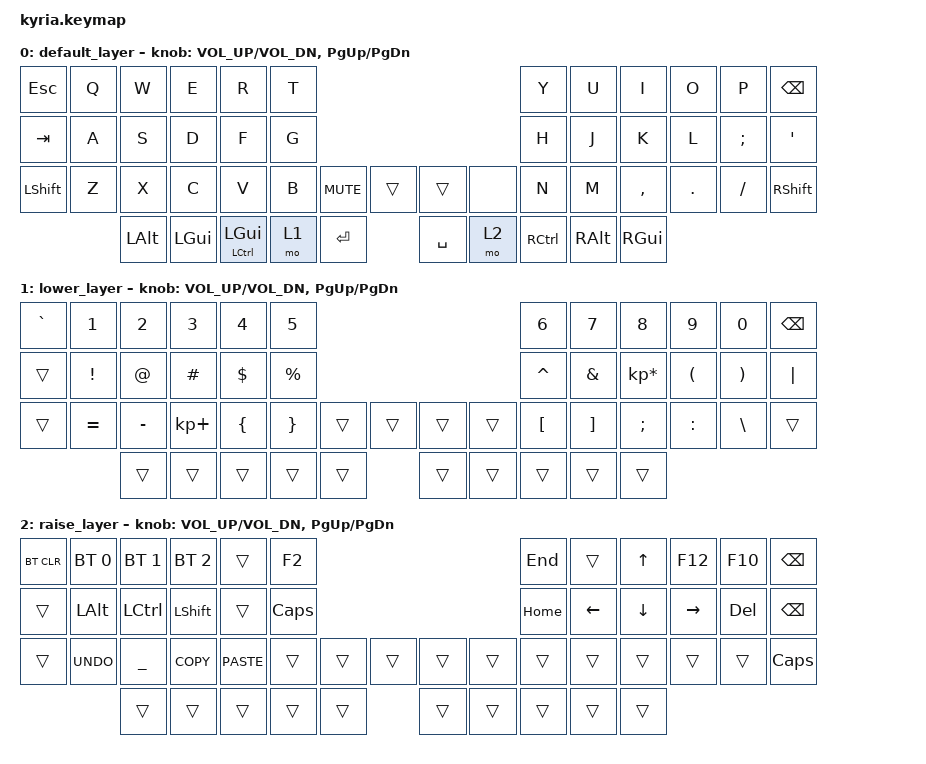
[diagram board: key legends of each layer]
 /* Copyright (c) 2020 The ZMK Contributors
 *
 * SPDX-License-Identifier: MIT
 */

#include <behaviors.dtsi>
#include <dt-bindings/zmk/keys.h>
#include <dt-bindings/zmk/bt.h>

/ {
    keymap {
        compatible = "zmk,keymap";

        default_layer {
// ------------------------------------------------------------------------------------------------------------
// |  ESC  |  Q  |  W  |  E   |  R   |  T   |                                 |  Y   |  U    |  I    |  O   |   P   | BKSPC |
// |  TAB  |  A  |  S  |  D   |  F   |  G   |                                 |  H   |  J    |  K    |  L   |   ;   |   '   |
// | SHIFT |  Z  |  X  |  C   |  V   |  B   |  MUTE  |    |      |    |       |  N   |  M    |  ,    |  .   |   /   | SHIFT |
//               |ALT | GUI  | CTRL | LOWER |  ENTER |    |      |    | SPACE | RAISE| CTRL  | ALT   | GUI  |
            bindings = <
&kp ESC   &kp Q  &kp W    &kp E    &kp R     &kp T                                          &kp Y  &kp U     &kp I     &kp O     &kp P       &kp BSPC
&kp TAB   &kp A  &kp S    &kp D    &kp F     &kp G                                          &kp H  &kp J     &kp K     &kp L     &kp SEMI    &kp SQT
&kp LSHFT &kp Z  &kp X    &kp C    &kp V     &kp B       &kp C_MUTE &trans &trans    &none  &kp N  &kp M     &kp COMMA &kp DOT   &kp FSLH    &kp RSHFT
                 &kp LALT &kp LGUI &mt LCTRL LGUI &mo 1  &kp RET           &kp SPACE &mo 2 &kp RCTRL &kp RALT  &kp RGUI
            >;

            sensor-bindings = <&inc_dec_kp C_VOL_UP C_VOL_DN &inc_dec_kp PG_UP PG_DN>;
        };

        lower_layer {
// TODO: Some binds are waiting for shifted keycode support.
// ------------------------------------------------------------------------------------------------------------
// | `     |  1  |  2  |  3   |  4   |  5   |                            |  6   |  7    |  8    |  9   |   0   |  BKSPC|
// |       |  !  |  @  |  #   |  $   |  %   |                            |  ^   |  &    |  *    |  (   |   )   |   |   |
// |       |  =  |  -  |  +   |  {   |  }   |    |    |       |    |     |  [   |  ]    |  ;    |  :   |   \   |       |
//               |     |      |      |      |    |    |       |    |     |      |       |       |      |
            bindings = <
&kp GRAVE &kp N1    &kp N2    &kp N3      &kp N4    &kp N5                                       &kp N6    &kp N7   &kp N8          &kp N9    &kp N0    &kp BSPC
&trans    &kp EXCL  &kp AT    &kp HASH    &kp DLLR  &kp PRCNT                                    &kp CARET &kp AMPS &kp KP_MULTIPLY &kp LPAR  &kp RPAR  &kp PIPE
&trans    &kp EQUAL &kp MINUS &kp KP_PLUS &kp LBRC  &kp RBRC  &trans   &trans &trans    &trans   &kp LBKT        &kp RBKT  &kp SEMI  &kp COLON &kp BSLH  &trans
                    &trans    &trans      &trans    &trans    &trans   &trans &trans    &trans   &trans          &trans
            >;

            sensor-bindings = <&inc_dec_kp C_VOL_UP C_VOL_DN &inc_dec_kp PG_UP PG_DN>;
        };
        

        raise_layer {
// ------------------------------------------------------------------------------------------------------------
// |BTCLR| BT0  | BT1  |  BT2  |       |      |                            | END  |      |  ^    |      |       |          |
// |     | ALT  | CTRL | SHIFT |       | CAPS |                            | HOME |   <- |   v   |  ->  |  DEL  |    BKSPC |
// |     | UNDO | CUT  | COPY  | PASTE |      |    |    |       |    |     |      |      |       |      |       |    CAPS  |
//              |      |       |       |      |    |    |       |    |     |      |      |       |      |
            bindings = <
&bt BT_CLR  &bt BT_SEL 0 &bt BT_SEL 1 &bt BT_SEL 2  &trans       &kp F2                                        &kp END   &trans    &kp UP   &kp F12    &kp F10  &kp BSPC
&trans      &kp LALT     &kp LCTRL    &kp LSHFT     &trans       &kp CLCK                                      &kp HOME  &kp LEFT  &kp DOWN &kp RIGHT &kp DEL &kp BSPC
&trans      &kp K_UNDO   &kp UNDER    &kp K_COPY    &kp K_PASTE  &trans   &trans   &trans  &trans    &trans    &trans    &trans    &trans   &trans    &trans  &kp CLCK
                         &trans       &trans        &trans       &trans   &trans   &trans  &trans    &trans    &trans    &trans
            >;

            sensor-bindings = <&inc_dec_kp C_VOL_UP C_VOL_DN &inc_dec_kp PG_UP PG_DN>;
        };
    };
};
